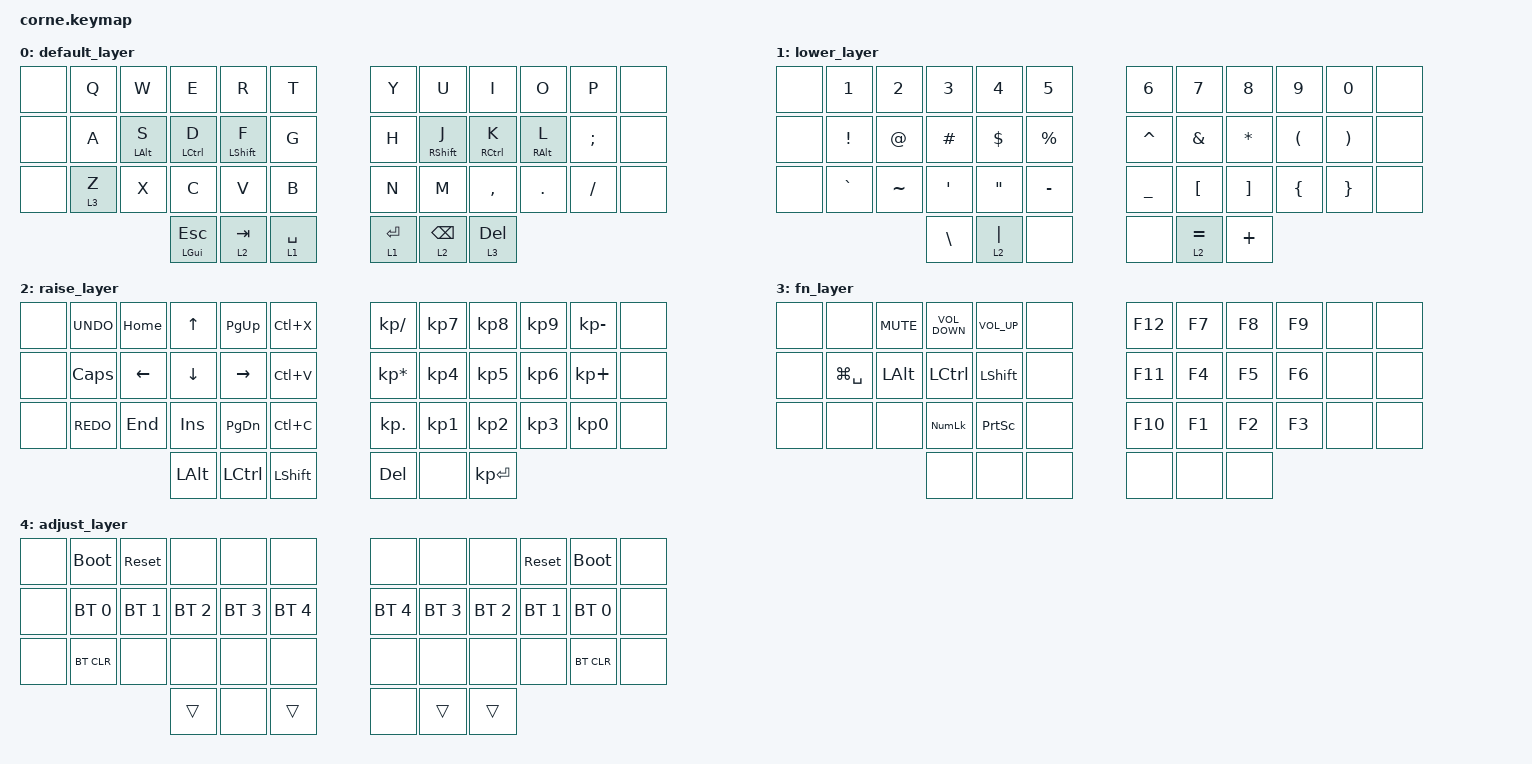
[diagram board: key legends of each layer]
/*
 * Copyright (c) 2020 The ZMK Contributors
 *
 * SPDX-License-Identifier: MIT
 */

#include <behaviors.dtsi>
#include <dt-bindings/zmk/bt.h>
#include <dt-bindings/zmk/keys.h>

#define NAV_L 1
#define NUM_L 2
#define MED_L 3
#define FUN_L 4

&lt { quick-tap-ms = <50>; };

&mt {
    quick-tap-ms = <150>;
    require-prior-idle-ms = <100>;
    flavor = "tap-preferred";
};

/ {
    tap_dances {
        shifty: shift_caps_word {
            compatible = "zmk,behavior-tap-dance";
            #binding-cells = <0>;
            tapping-term-ms = <150>;
            bindings = <&kp LSHFT>, <&caps_word>;
        };
    };

    cond_layers {
        compatible = "zmk,conditional-layers";

        tri-layer {
            if-layers = <1 2>;
            then-layer = <4>;
        };
    };

    combos {
        compatible = "zmk,combos";

        grave {
            bindings = <&kp GRAVE>;
            key-positions = <1 2>;
            layers = <0>;
        };

        quote {
            bindings = <&kp SINGLE_QUOTE>;
            key-positions = <7 8>;
            layers = <0>;
        };

        left-square-bracket {
            bindings = <&kp LEFT_BRACKET>;
            key-positions = <8 9>;
        };

        right-square-bracket {
            bindings = <&kp RIGHT_BRACKET>;
            key-positions = <9 10>;
        };

        left-back {
            bindings = <&kp LA(LEFT)>;
            key-positions = <25 24>;
        };

        right-forward {
            bindings = <&kp RA(RIGHT)>;
            key-positions = <26 25>;
        };
    };

    behaviors {
    };

    keymap {
        compatible = "zmk,keymap";

        default_layer {
            bindings = <
&none  &kp Q    &kp W       &kp E         &kp R         &kp T          &kp Y        &kp U        &kp I        &kp O       &kp P     &none
&none  &kp A    &mt LALT S  &mt LCTRL D   &mt LSHIFT F  &kp G          &kp H        &mt RSHFT J  &mt RCTRL K  &mt RALT L  &kp SEMI  &none
&none  &lt 3 Z  &kp X       &kp C         &kp V         &kp B          &kp N        &kp M        &kp COMMA    &kp DOT     &kp FSLH  &none
                            &mt LGUI ESC  &lt 2 TAB     &lt 1 SPACE    &lt 1 ENTER  &lt 2 BSPC   &lt 3 DEL
            >;
        };

        lower_layer {
            bindings = <
&none  &kp N1     &kp N2     &kp N3    &kp N4             &kp N5       &kp N6          &kp N7       &kp N8    &kp N9          &kp N0           &none
&none  &kp EXCL   &kp AT     &kp HASH  &kp DLLR           &kp PRCNT    &kp CARET       &kp AMPS     &kp STAR  &kp LPAR        &kp RPAR         &none
&none  &kp GRAVE  &kp TILDE  &kp SQT   &kp DOUBLE_QUOTES  &kp MINUS    &kp UNDERSCORE  &kp LBKT     &kp RBKT  &kp LEFT_BRACE  &kp RIGHT_BRACE  &none
                             &kp BSLH  &lt 2 PIPE         &none        &none           &lt 2 EQUAL  &kp PLUS
            >;
        };

        raise_layer {
            bindings = <
&none  &kp K_UNDO  &kp HOME  &kp UP    &kp PG_UP  &kp LC(X)     &kp KP_SLASH     &kp KP_N7  &kp KP_N8     &kp KP_N9  &kp KP_MINUS  &none
&none  &kp CAPS    &kp LEFT  &kp DOWN  &kp RIGHT  &kp LC(V)     &kp KP_MULTIPLY  &kp KP_N4  &kp KP_N5     &kp KP_N6  &kp KP_PLUS   &none
&none  &kp K_REDO  &kp END   &kp INS   &kp PG_DN  &kp LC(C)     &kp KP_DOT       &kp KP_N1  &kp KP_N2     &kp KP_N3  &kp KP_N0     &none
                             &kp LALT  &kp LCTRL  &kp LSHIFT    &kp DEL          &none      &kp KP_ENTER
            >;
        };

        fn_layer {
            bindings = <
&none  &none          &kp K_MUTE  &kp C_VOLUME_DOWN  &kp C_VOLUME_UP  &none    &kp F12  &kp F7  &kp F8  &kp F9  &none  &none
&none  &kp LG(SPACE)  &kp LALT    &kp LCTRL          &kp LSHIFT       &none    &kp F11  &kp F4  &kp F5  &kp F6  &none  &none
&none  &none          &none       &kp KP_NUMLOCK     &kp PRINTSCREEN  &none    &kp F10  &kp F1  &kp F2  &kp F3  &none  &none
                                  &none              &none            &none    &none    &none   &none
            >;
        };

        adjust_layer {
            bindings = <
&none  &bootloader   &sys_reset    &none         &none         &none           &none         &none         &none         &sys_reset    &bootloader   &none
&none  &bt BT_SEL 0  &bt BT_SEL 1  &bt BT_SEL 2  &bt BT_SEL 3  &bt BT_SEL 4    &bt BT_SEL 4  &bt BT_SEL 3  &bt BT_SEL 2  &bt BT_SEL 1  &bt BT_SEL 0  &none
&none  &bt BT_CLR    &none         &none         &none         &none           &none         &none         &none         &none         &bt BT_CLR    &none
                                   &trans        &none         &trans          &none         &trans        &trans
            >;
        };
    };
};
